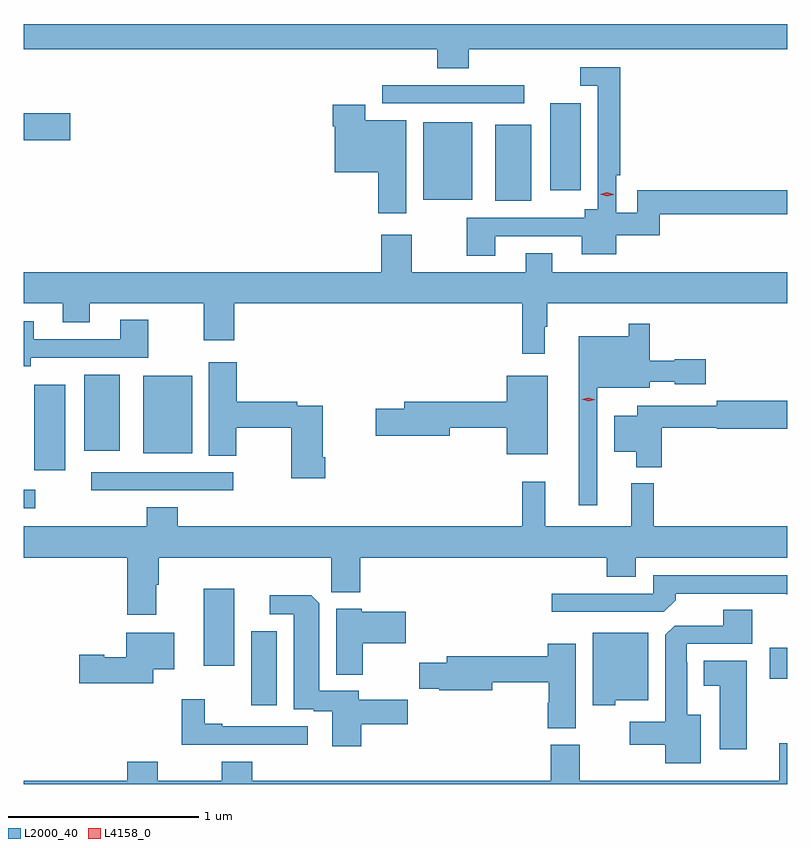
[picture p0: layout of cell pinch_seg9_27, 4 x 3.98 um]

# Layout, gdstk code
import gdstk
lib = gdstk.Library(unit=1e-6, precision=1e-09)
def R(c, l, rs):  # rectangles x0, y0, x1, y1
    for r in rs: c.add(gdstk.rectangle(r[:2], r[2:], *l))
def P(c, l, *ps):  # polygons
    for p in ps: c.add(gdstk.Polygon(p, *l))
L2000_40 = (2000, 40)
L4158_0 = (4158, 0)

pinch_seg9_27 = lib.new_cell('pinch_seg9_27')
R(pinch_seg9_27, L2000_40, [(933.692,1244.93,933.826,1245.319), (936.408,1245.07,936.5,1245.232), (933.443,1245.138,933.604,1245.541), (932.5,1245.963,932.56,1246.059), (932.853,1246.056,933.598,1246.152), (932.555,1246.161,932.716,1246.609), (933.125,1246.25,933.382,1246.657), (932.816,1246.265,933.004,1246.663), (934.97,1247.573,935.158,1247.971), (934.592,1247.579,934.849,1247.986), (935.258,1247.628,935.419,1248.085), (932.5,1247.891,932.743,1248.033), (934.377,1248.084,935.122,1248.18)])
P(pinch_seg9_27, L2000_40, [(934.832,1248.368),(936.5,1248.368),(936.5,1248.5),(932.5,1248.5),(932.5,1248.368),(934.667,1248.368),(934.667,1248.269),(934.832,1248.269)],
  [(934.969,1247.388),(935.423,1247.388),(935.423,1247.294),(935.605,1247.294),(935.605,1247.393),(935.831,1247.393),(935.831,1247.502),(936.5,1247.502),(936.5,1247.63),(935.715,1247.63),(935.715,1247.51),(935.604,1247.51),(935.604,1247.707),(935.624,1247.707),(935.624,1248.273),(935.415,1248.273),(935.415,1248.177),(935.508,1248.177),(935.508,1247.53),(935.438,1247.53),(935.438,1247.484),(934.822,1247.484),(934.822,1247.286),(934.969,1247.286)],
  [(934.504,1247.995),(934.288,1247.995),(934.288,1248.076),(934.118,1248.076),(934.118,1247.963),(934.13,1247.963),(934.13,1247.723),(934.358,1247.723),(934.358,1247.508),(934.504,1247.508)],
  [(935.23,1246.913),(935.242,1246.913),(935.242,1247.036),(936.5,1247.036),(936.5,1247.2),(935.269,1247.2),(935.269,1247.299),(935.129,1247.299),(935.129,1247.2),(934.533,1247.2),(934.533,1247.395),(934.373,1247.395),(934.373,1247.2),(932.5,1247.2),(932.5,1247.036),(932.705,1247.036),(932.705,1246.937),(932.845,1246.937),(932.845,1247.036),(933.442,1247.036),(933.442,1246.842),(933.602,1246.842),(933.602,1247.036),(935.113,1247.036),(935.113,1246.773),(935.23,1246.773)],
  [(932.536,1246.752),(933.153,1246.752),(933.153,1246.951),(933.005,1246.951),(933.005,1246.848),(932.551,1246.848),(932.551,1246.942),(932.5,1246.942),(932.5,1246.706),(932.536,1246.706)],
  [(935.505,1246.595),(935.779,1246.595),(935.779,1246.626),(935.91,1246.626),(935.91,1246.613),(936.073,1246.613),(936.073,1246.743),(935.91,1246.743),(935.91,1246.735),(935.779,1246.735),(935.779,1246.93),(935.67,1246.93),(935.67,1246.864),(935.408,1246.864),(935.408,1245.978),(935.505,1245.978)],
  [(934.079,1246.231),(934.066,1246.231),(934.066,1246.5),(933.932,1246.5),(933.932,1246.52),(933.617,1246.52),(933.617,1246.729),(933.47,1246.729),(933.47,1246.237),(933.612,1246.237),(933.612,1246.384),(933.901,1246.384),(933.901,1246.119),(934.079,1246.119)],
  [(935.245,1246.657),(935.03,1246.657),(935.03,1246.52),(934.493,1246.52),(934.493,1246.484),(934.344,1246.484),(934.344,1246.342),(934.732,1246.342),(934.732,1246.384),(935.03,1246.384),(935.03,1246.247),(935.245,1246.247)],
  [(935.843,1246.384),(936.132,1246.384),(936.132,1246.379),(936.5,1246.379),(936.5,1246.526),(936.132,1246.526),(936.132,1246.5),(935.714,1246.5),(935.714,1246.447),(935.594,1246.447),(935.594,1246.259),(935.708,1246.259),(935.708,1246.178),(935.843,1246.178)],
  [(933.193,1245.563),(933.206,1245.563),(933.206,1245.704),(934.111,1245.704),(934.111,1245.522),(934.262,1245.522),(934.262,1245.704),(935.555,1245.704),(935.555,1245.605),(935.707,1245.605),(935.707,1245.704),(936.5,1245.704),(936.5,1245.868),(935.801,1245.868),(935.801,1246.093),(935.684,1246.093),(935.684,1245.868),(935.231,1245.868),(935.231,1246.102),(935.113,1246.102),(935.113,1245.868),(933.308,1245.868),(933.308,1245.967),(933.143,1245.967),(933.143,1245.868),(932.5,1245.868),(932.5,1245.704),(933.041,1245.704),(933.041,1245.405),(933.193,1245.405)],
  [(935.915,1245.482),(935.915,1245.516),(936.494,1245.516),(936.494,1245.511),(936.5,1245.511),(936.5,1245.612),(935.799,1245.612),(935.799,1245.516),(935.265,1245.516),(935.265,1245.42),(935.853,1245.42)],
  [(934.268,1244.83),(934.511,1244.83),(934.511,1244.959),(934.255,1244.959),(934.255,1245.006),(934.048,1245.006),(934.048,1245.464),(934.006,1245.506),(933.789,1245.506),(933.789,1245.408),(933.914,1245.408),(933.914,1244.91),(934.019,1244.91),(934.019,1244.898),(934.115,1244.898),(934.115,1244.715),(934.268,1244.715)],
  [(934.276,1245.256),(934.501,1245.256),(934.501,1245.421),(934.272,1245.421),(934.272,1245.436),(934.136,1245.436),(934.136,1245.091),(934.276,1245.091)],
  [(936.046,1244.881),(935.977,1244.881),(935.977,1245.155),(935.973,1245.155),(935.973,1245.252),(936.317,1245.252),(936.317,1245.431),(936.164,1245.431),(936.164,1245.348),(935.91,1245.348),(935.861,1245.299),(935.861,1244.845),(935.676,1244.845),(935.676,1244.723),(935.861,1244.723),(935.861,1244.627),(936.046,1244.627)],
  [(935.598,1244.957),(935.773,1244.957),(935.773,1245.31),(935.48,1245.31),(935.48,1244.93),(935.598,1244.93)],
  [(933.178,1245.119),(933.289,1245.119),(933.289,1245.31),(933.038,1245.31),(933.038,1245.181),(932.922,1245.181),(932.922,1245.194),(932.79,1245.194),(932.79,1245.047),(933.178,1245.047)],
  [(935.392,1245.253),(935.246,1245.253),(935.246,1245.188),(934.715,1245.188),(934.715,1245.152),(934.573,1245.152),(934.573,1245.017),(934.678,1245.017),(934.678,1245.01),(934.954,1245.01),(934.954,1245.052),(935.251,1245.052),(935.251,1244.945),(935.246,1244.945),(935.246,1244.809),(935.392,1244.809)],
  [(936.289,1245.163),(936.062,1245.163),(936.062,1245.032),(936.146,1245.032),(936.146,1244.7),(936.289,1244.7)],
  [(933.988,1244.82),(933.541,1244.82),(933.541,1244.833),(933.447,1244.833),(933.447,1244.962),(933.328,1244.962),(933.328,1244.724),(933.988,1244.724)],
  [(936.5,1244.731),(936.458,1244.731),(936.458,1244.536),(935.413,1244.536),(935.413,1244.724),(935.261,1244.724),(935.261,1244.536),(933.698,1244.536),(933.698,1244.635),(933.538,1244.635),(933.538,1244.536),(933.201,1244.536),(933.201,1244.635),(933.041,1244.635),(933.041,1244.536),(932.5,1244.536),(932.5,1244.518),(936.5,1244.518)])
P(pinch_seg9_27, L4158_0, [(935.555,1247.598),(935.52,1247.609),(935.52,1247.609),(935.52,1247.609),(935.555,1247.618),(935.59,1247.607),(935.59,1247.606),(935.59,1247.606)],
  [(935.458,1246.523),(935.424,1246.535),(935.423,1246.535),(935.424,1246.535),(935.46,1246.543),(935.495,1246.531),(935.495,1246.531),(935.495,1246.531)])

lib.write_gds('pinch_seg9_27.gds')
